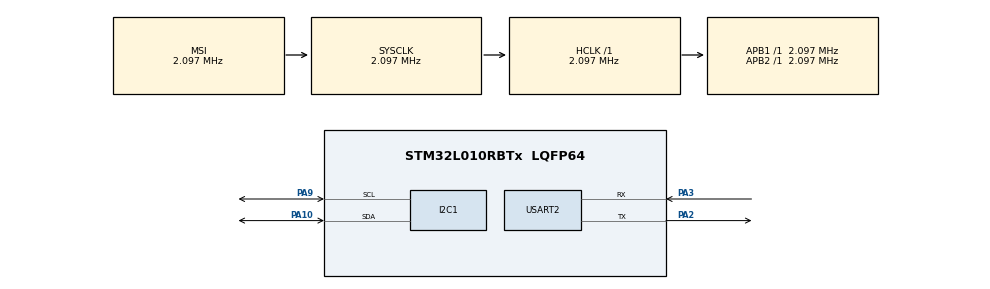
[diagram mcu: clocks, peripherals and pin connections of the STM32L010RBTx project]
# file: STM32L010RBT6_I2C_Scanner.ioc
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I2C1.Timing=0x00000608
Mcu.Family=STM32L0
Mcu.Name=STM32L010RBTx
Mcu.Package=LQFP64
NVIC.I2C1_IRQn=true\:0\:0\:false\:false\:true\:true\:true\:true
PA10.Mode=I2C
PA10.Signal=I2C1_SDA
PA2.Mode=Asynchronous
PA2.Signal=USART2_TX
PA3.Mode=Asynchronous
PA3.Signal=USART2_RX
PA9.Mode=I2C
PA9.Signal=I2C1_SCL
ProjectManager.HeapSize=0x200
ProjectManager.StackSize=0x400
ProjectManager.TargetToolchain=STM32CubeIDE
RCC.AHBFreq_Value=2097000
RCC.APB1Freq_Value=2097000
RCC.APB1TimFreq_Value=2097000
RCC.APB2Freq_Value=2097000
RCC.APB2TimFreq_Value=2097000
RCC.HSE_VALUE=8000000
RCC.HSI16_VALUE=16000000
RCC.HSI_VALUE=16000000
RCC.LSE_VALUE=32768
RCC.MSI_VALUE=2097000
RCC.SYSCLKFreq_VALUE=2097000
RCC.VCOOutputFreq_Value=48000000
USART2.VirtualMode-Asynchronous=VM_ASYNC
board=custom

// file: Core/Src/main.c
/* USER CODE BEGIN Header */
/**
  ******************************************************************************
  * @file           : main.c
  * @brief          : Main program body
  ******************************************************************************
  * @attention
  *
  * Copyright (c) 2025 STMicroelectronics.
  * All rights reserved.
  *
  * This software is licensed under terms that can be found in the LICENSE file
  * in the root directory of this software component.
  * If no LICENSE file comes with this software, it is provided AS-IS.
  *
  ******************************************************************************
  */
/* USER CODE END Header */
#include "main.h"

/* USER CODE BEGIN Includes */
#include <stdio.h>
#include <string.h>
/* USER CODE END Includes */

/* USER CODE BEGIN PD */
#define LIS3DH_ADDR         (0x19 << 1) // Shifted for HAL which uses 8-bit addr
#define LIS3DH_WHO_AM_I_REG 0x0F
extern I2C_HandleTypeDef hi2c1;
#define EXPECTED_WHO_AM_I   0x33
/* USER CODE END PD */

I2C_HandleTypeDef hi2c1;

UART_HandleTypeDef huart2;

void SystemClock_Config(void);
static void MX_GPIO_Init(void);
static void MX_I2C1_Init(void);
static void MX_USART2_UART_Init(void);
/* USER CODE BEGIN PFP */
void LIS3DH_Select(void);
uint8_t LIS3DH_Read_WHOAMI(void);
void LIS3DH_Print_WhoAmI(void);
/* USER CODE END PFP */

/* USER CODE BEGIN 0 */
void I2C_Scan_Bus(void)
{
    char msg[64];
    int device_count = 0;

    uint32_t start_time = HAL_GetTick();  // Record start time

    snprintf(msg, sizeof(msg), "Scanning I2C bus...\r\n");
    HAL_UART_Transmit(&huart2, (uint8_t*)msg, strlen(msg), HAL_MAX_DELAY);

    for (uint8_t addr = 1; addr < 128; addr++) {
        if (HAL_I2C_IsDeviceReady(&hi2c1, addr << 1, 1, 10) == HAL_OK) {
            snprintf(msg, sizeof(msg), "I2C device found at 0x%02X\r\n", addr);
            HAL_UART_Transmit(&huart2, (uint8_t*)msg, strlen(msg), HAL_MAX_DELAY);
            device_count++;
        }
        HAL_Delay(10);  // Delay between address checks
    }

    uint32_t scan_duration = HAL_GetTick() - start_time;

    snprintf(msg, sizeof(msg), "Scan complete. Found %d device(s). Time: %lu ms\r\n", device_count, scan_duration);
    HAL_UART_Transmit(&huart2, (uint8_t*)msg, strlen(msg), HAL_MAX_DELAY);
}
/* USER CODE END 0 */

int main(void)
{

  /* MCU Configuration--------------------------------------------------------*/

  /* Reset of all peripherals, Initializes the Flash interface and the Systick. */
  HAL_Init();

  /* Configure the system clock */
  SystemClock_Config();

  /* Initialize all configured peripherals */
  MX_GPIO_Init();
  MX_I2C1_Init();
  MX_USART2_UART_Init();
  /* USER CODE BEGIN 2 */
  // Call I2C scanner once after init
  HAL_Delay(100); // Small delay before scanning
  I2C_Scan_Bus();
  /* USER CODE END 2 */

  /* Infinite loop */
  /* USER CODE BEGIN WHILE */
  while (1)
  {
	  I2C_Scan_Bus();
	     HAL_Delay(3000); // Scan every 3 seconds
    /* USER CODE END WHILE */

  }
}

void SystemClock_Config(void)
{
  RCC_OscInitTypeDef RCC_OscInitStruct = {0};
  RCC_ClkInitTypeDef RCC_ClkInitStruct = {0};
  RCC_PeriphCLKInitTypeDef PeriphClkInit = {0};

  /** Configure the main internal regulator output voltage
  */
  __HAL_PWR_VOLTAGESCALING_CONFIG(PWR_REGULATOR_VOLTAGE_SCALE1);

  /** Initializes the RCC Oscillators according to the specified parameters
  * in the RCC_OscInitTypeDef structure.
  */
  RCC_OscInitStruct.OscillatorType = RCC_OSCILLATORTYPE_MSI;
  RCC_OscInitStruct.MSIState = RCC_MSI_ON;
  RCC_OscInitStruct.MSICalibrationValue = 0;
  RCC_OscInitStruct.MSIClockRange = RCC_MSIRANGE_5;
  RCC_OscInitStruct.PLL.PLLState = RCC_PLL_NONE;
  if (HAL_RCC_OscConfig(&RCC_OscInitStruct) != HAL_OK)
  {
    Error_Handler();
  }

  /** Initializes the CPU, AHB and APB buses clocks
  */
  RCC_ClkInitStruct.ClockType = RCC_CLOCKTYPE_HCLK|RCC_CLOCKTYPE_SYSCLK
                              |RCC_CLOCKTYPE_PCLK1|RCC_CLOCKTYPE_PCLK2;
  RCC_ClkInitStruct.SYSCLKSource = RCC_SYSCLKSOURCE_MSI;
  RCC_ClkInitStruct.AHBCLKDivider = RCC_SYSCLK_DIV1;
  RCC_ClkInitStruct.APB1CLKDivider = RCC_HCLK_DIV1;
  RCC_ClkInitStruct.APB2CLKDivider = RCC_HCLK_DIV1;

  if (HAL_RCC_ClockConfig(&RCC_ClkInitStruct, FLASH_LATENCY_0) != HAL_OK)
  {
    Error_Handler();
  }
  PeriphClkInit.PeriphClockSelection = RCC_PERIPHCLK_USART2|RCC_PERIPHCLK_I2C1;
  PeriphClkInit.Usart2ClockSelection = RCC_USART2CLKSOURCE_PCLK1;
  PeriphClkInit.I2c1ClockSelection = RCC_I2C1CLKSOURCE_PCLK1;
  if (HAL_RCCEx_PeriphCLKConfig(&PeriphClkInit) != HAL_OK)
  {
    Error_Handler();
  }
}

static void MX_I2C1_Init(void)
{

  hi2c1.Instance = I2C1;
  hi2c1.Init.Timing = 0x00000608;
  hi2c1.Init.OwnAddress1 = 0;
  hi2c1.Init.AddressingMode = I2C_ADDRESSINGMODE_7BIT;
  hi2c1.Init.DualAddressMode = I2C_DUALADDRESS_DISABLE;
  hi2c1.Init.OwnAddress2 = 0;
  hi2c1.Init.OwnAddress2Masks = I2C_OA2_NOMASK;
  hi2c1.Init.GeneralCallMode = I2C_GENERALCALL_DISABLE;
  hi2c1.Init.NoStretchMode = I2C_NOSTRETCH_DISABLE;
  if (HAL_I2C_Init(&hi2c1) != HAL_OK)
  {
    Error_Handler();
  }

  /** Configure Analogue filter
  */
  if (HAL_I2CEx_ConfigAnalogFilter(&hi2c1, I2C_ANALOGFILTER_ENABLE) != HAL_OK)
  {
    Error_Handler();
  }

  /** Configure Digital filter
  */
  if (HAL_I2CEx_ConfigDigitalFilter(&hi2c1, 0) != HAL_OK)
  {
    Error_Handler();
  }

}

static void MX_USART2_UART_Init(void)
{

  huart2.Instance = USART2;
  huart2.Init.BaudRate = 115200;
  huart2.Init.WordLength = UART_WORDLENGTH_8B;
  huart2.Init.StopBits = UART_STOPBITS_1;
  huart2.Init.Parity = UART_PARITY_NONE;
  huart2.Init.Mode = UART_MODE_TX_RX;
  huart2.Init.HwFlowCtl = UART_HWCONTROL_NONE;
  huart2.Init.OverSampling = UART_OVERSAMPLING_16;
  huart2.Init.OneBitSampling = UART_ONE_BIT_SAMPLE_DISABLE;
  huart2.AdvancedInit.AdvFeatureInit = UART_ADVFEATURE_NO_INIT;
  if (HAL_UART_Init(&huart2) != HAL_OK)
  {
    Error_Handler();
  }

}

static void MX_GPIO_Init(void)
{

  /* GPIO Ports Clock Enable */
  __HAL_RCC_GPIOA_CLK_ENABLE();

}

/* USER CODE BEGIN 4 */
uint8_t LIS3DH_Read_WhoAmI(void) {
    uint8_t who_am_i = 0;
    HAL_I2C_Mem_Read(&hi2c1, LIS3DH_ADDR, LIS3DH_WHO_AM_I_REG, I2C_MEMADD_SIZE_8BIT, &who_am_i, 1, HAL_MAX_DELAY);
    return who_am_i;
}

void LIS3DH_Print_WhoAmI(void) {
    char msg[64];
    uint8_t id = LIS3DH_Read_WhoAmI();
    if (id == 0x33) {
        snprintf(msg, sizeof(msg), "LIS3DH WHO_AM_I: 0x%02X (OK)\r\n", id);
    } else {
        snprintf(msg, sizeof(msg), "LIS3DH WHO_AM_I: 0x%02X (ERROR)\r\n", id);
    }
    HAL_UART_Transmit(&huart2, (uint8_t*)msg, strlen(msg), HAL_MAX_DELAY);
}
/* USER CODE END 4 */

void Error_Handler(void)
{
  __disable_irq();
  while (1)
  {
  }
}
